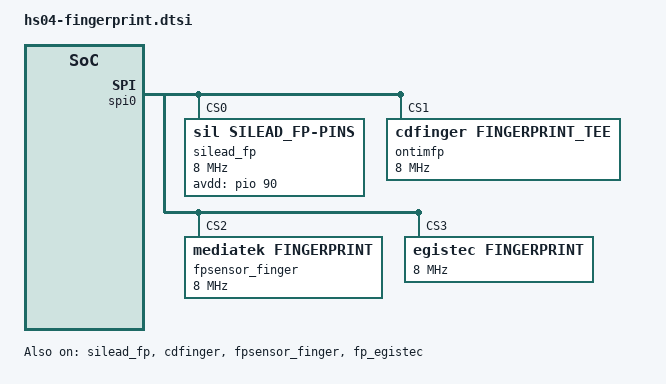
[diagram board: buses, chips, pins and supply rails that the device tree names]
/* FINGERPRINT start */
&spi0 {
    #address-cells = <1>;
    #size-cells = <0>;
    /delete-property/mediatek,pad-select;
    mediatek,pad-select = <0>,<0>,<0>,<0>;
    cs-gpios = <0>,<0>,<0>,<0>;
    status = "okay";

    silead_fp@0 {
        compatible = "sil,silead_fp-pins";
        reg = <0>;
        spi-id = <0>;
        spi-irq = <118>;
        spi-reg = <0x1100a000>;
        spi-max-frequency = <8000000>;
        avdd-gpio =<&pio 90 0x0>;
        status = "okay";
    };

    ontimfp@1 {
        compatible = "cdfinger,fingerprint_tee";
        reg = <1>;
        spi-max-frequency = <8000000>;
        status = "okay";
    };

    fpsensor_finger@2 {
        compatible = "mediatek,fingerprint";
        reg = <2>;
        spi-max-frequency = <8000000>;
        status = "okay";
    };

    fingerprint@3 {
        compatible = "egistec,fingerprint";
        reg = <3>;
        spi-max-frequency = <8000000>;
        status = "okay";
    };
};

/* HS03S code added for DEVAL5625-2567 by wurui at 20211122 start */
&silead_fp {
    interrupt-parent = <&pio>;
    interrupts = <2 IRQ_TYPE_EDGE_RISING 2 0>;

    pinctrl-names = "default", "rst-low", "rst-high" ,
                    "irq-init", "spi-default", "irq-low",
                    "avdd-enable", "avdd-disable";
    pinctrl-0 = <&silfp_default>;
    pinctrl-1 = <&silfp_rst_low>;
    pinctrl-2 = <&silfp_rst_high>;
    pinctrl-3 = <&silfp_irq>;
    pinctrl-4 = <&fingerprint_pins_default>;
    pinctrl-5 = <&silfp_irq_low>;
    pinctrl-6 = <&silfp_avdd_enable>;
    pinctrl-7 = <&silfp_avdd_disable>;
    status = "okay";
};
/* HS03S code added for DEVAL5625-2567 by wurui at 20211122 end */

&pio {
    silfp_default: silfpdefault {
    };

    silfp_rst_high: state_reset_high {
        pins_cmd_dat {
            pinmux = <PINMUX_GPIO173__FUNC_GPIO173>;
            slew-rate = <1>;
            output-high;
        };
    };

    silfp_rst_low: state_reset_low {
        pins_cmd_dat {
            pinmux = <PINMUX_GPIO173__FUNC_GPIO173>;
            slew-rate = <1>;
            output-low;
        };
    };

    silfp_irq: fp_eint@2 {
        pins_cmd_dat {
            pinmux = <PINMUX_GPIO2__FUNC_GPIO2>;
            slew-rate = <0>;
            bias-pull-down = <00>;
        };
    };

    silfp_irq_low: state_irq_low {
        pins_cmd_dat {
            pinmux = <PINMUX_GPIO2__FUNC_GPIO2>;
            slew-rate = <1>;
            output-low;
        };
    };

    silfp_avdd_enable: state_avdd_high {
        pins_cmd_dat {
            pinmux = <PINMUX_GPIO90__FUNC_GPIO90>;
            slew-rate = <1>;
            output-high;
        };
    };

/* HS03S code added for DEVAL5625-2567 by wurui at 20211122 start */
    silfp_avdd_disable: state_avdd_low {
        pins_cmd_dat {
            pinmux = <PINMUX_GPIO90__FUNC_GPIO90>;
            slew-rate = <1>;
            output-low;
        };
    };
/* HS03S code added for DEVAL5625-2567 by wurui at 20211122 end */
};

&pio {
    fingerprint_pins_default: fp_default {
	pins_cmd_dat {
		pinmux = <PINMUX_GPIO156__FUNC_SPI0_CSB>;
		slew-rate = <1>;
		bias-pull-up;
	};

	pins_cmd2_dat {
		pinmux = <PINMUX_GPIO158__FUNC_SPI0_CLK>;
		slew-rate = <1>;
		bias-pull-down;
	};

	pins_cmd3_dat {
		pinmux = <PINMUX_GPIO155__FUNC_SPI0_MI>;
		slew-rate = <0>;
		bias-pull-down;
	};

	pins_cmd4_dat {
		pinmux = <PINMUX_GPIO157__FUNC_SPI0_MO>;
		slew-rate = <1>;
		bias-pull-down;
	};
    };
};

&cdfinger {
    interrupt-parent = <&pio>;
    interrupts = <2 IRQ_TYPE_EDGE_RISING 2 0>;

    compatible = "mediatek,mtk_finger";
    reg = <0>;
    debounce = <2 0>;
    vdd_ldo_enable = <1>;
    vio_ldo_enable = <0>;
    config_spi_pin = <1>;
    spi-max-frequency = <8000000>;

    pinctrl-names = "fingerprint_reset_high",
        "fingerprint_reset_low",
        "fingerprint_spi_miso",
        "fingerprint_spi_mosi",
        "fingerprint_spi_sck",
        "fingerprint_spi_cs",
        "fingerprint_irq",
        "fingerprint_power_high",
        "fingerprint_power_low";

    pinctrl-0 = <&fps_reset_high>;
    pinctrl-1 = <&fps_reset_low>;
    pinctrl-2 = <&fps_spi_miso>;
    pinctrl-3 = <&fps_spi_mosi>;
    pinctrl-4 = <&fps_spi_sck>;
    pinctrl-5 = <&fps_spi_cs>;
    pinctrl-6 = <&fps_irq>;
    pinctrl-7 = <&fps_power_on>;
    pinctrl-8 = <&fps_power_off>;
    status = "okay";
};


&pio {
    fps_reset_high: fps_reset_high {
        pins_cmd_dat {
            pinmux = <PINMUX_GPIO173__FUNC_GPIO173>;
            slew-rate = <1>;
            bias-disable;
            output-high;
        };
    };
    fps_reset_low: fps_reset_low {
        pins_cmd_dat {
            pinmux = <PINMUX_GPIO173__FUNC_GPIO173>;
            slew-rate = <1>;
            bias-disable;
            output-low;
        };
    };
    fps_spi_miso:fps_spi_miso@0{
        pins_cmd_dat {
            pinmux = <PINMUX_GPIO155__FUNC_SPI0_MI>;
            slew-rate = <0>;
            bias-pull-down;
        };
    };
    fps_spi_mosi:fps_spi_mosi@0{
        pins_cmd_dat {
            pinmux = <PINMUX_GPIO157__FUNC_SPI0_MO>;
            slew-rate = <1>;
            bias-pull-down;
        };
    };
    fps_spi_sck:fps_spi_sck@0{
        pins_cmd_dat {
            pinmux = <PINMUX_GPIO158__FUNC_SPI0_CLK>;
            slew-rate = <1>;
            bias-pull-down;
        };
    };
    fps_spi_cs:fps_spi_cs@0{
        pins_cmd_dat {
            pinmux = <PINMUX_GPIO156__FUNC_SPI0_CSB>;
            slew-rate = <1>;
            bias-pull-up;
        };
    };
    fps_irq: fps_irq {
        pins_cmd_dat {
            pinmux = <PINMUX_GPIO2__FUNC_GPIO2>;
            slew-rate = <0>;
            bias-disable;
            output-low;
        };
    };
    fps_power_on: fps_power_on {
        pins_cmd_dat {
            pinmux = <PINMUX_GPIO90__FUNC_GPIO90>;
            slew-rate = <1>;
            output-high;
        };
    };
    fps_power_off: fps_power_off {
        pins_cmd_dat {
            pinmux = <PINMUX_GPIO90__FUNC_GPIO90>;
            slew-rate = <1>;
            output-low;
        };
    };
};

&fpsensor_finger {
	interrupt-parent = <&pio>;
	interrupts = <2 IRQ_TYPE_EDGE_RISING 2 0>;
	debounce = <2 0>;
	pinctrl-names = "fpsensor_spi_default", "fpsensor_spi_cs_low","fpsensor_spi_cs_high","fpsensor_spi_mi_low","fpsensor_spi_mi_high",
					"fpsensor_spi_mo_low","fpsensor_spi_mo_high","fpsensor_spi_mclk_low","fpsensor_spi_mclk_high",
					"fpsensor_finger_rst_low","fpsensor_finger_rst_high","fpsensor_finger_power_low","fpsensor_finger_power_high",
					"fpsensor_eint_as_int","fpsensor_eint_in_low","fpsensor_eint_in_float","fpsensor_finger_cs_low","fpsensor_finger_cs_high";
	pinctrl-0 = <&fpsensor_spi_default>;
	pinctrl-1 = <&fpsensor_spi_cs_en0>;
	pinctrl-2 = <&fpsensor_spi_cs_en1>;
	pinctrl-3 = <&fpsensor_spi_mi_mode_en0>;
	pinctrl-4 = <&fpsensor_spi_mi_mode_en1>;
	pinctrl-5 = <&fpsensor_spi_mo_mode_en0>;
	pinctrl-6 = <&fpsensor_spi_mo_mode_en1>;
	pinctrl-7 = <&fpsensor_spi_mclk_mode_en0>;
	pinctrl-8 = <&fpsensor_spi_mclk_mode_en1>;
	pinctrl-9 = <&fpsensor_finger_rst_mode_en0>;
	pinctrl-10 = <&fpsensor_finger_rst_mode_en1>;
	pinctrl-11 = <&fpsensor_finger_power_en0>;
	pinctrl-12 = <&fpsensor_finger_power_en1>;
	pinctrl-13 = <&fpsensor_fp_eint_as_int>;
	pinctrl-14 = <&fpsensor_fp_eint_in_low>;
	pinctrl-15 = <&fpsensor_fp_eint_in_float>;
	pinctrl-16 = <&fpsensor_finger_cs_mode_en0>;
	pinctrl-17 = <&fpsensor_finger_cs_mode_en1>;
	status = "okay";
};

&pio {

	fpsensor_spi_default: fpsensor_spi_default {
	};

	fpsensor_spi_cs_en0: fpsensor_spi_cs_low {
		pins_cmd_dat {
			pinmux = <PINMUX_GPIO156__FUNC_SPI0_CSB>;
			slew-rate = <1>;
			output-low;
		};
	};
	fpsensor_spi_cs_en1: fpsensor_spi_cs_high {
		pins_cmd_dat {
			pinmux = <PINMUX_GPIO156__FUNC_SPI0_CSB>;
			slew-rate = <1>;
			output-high;
		};
	};
	fpsensor_spi_mi_mode_en0: fpsensor_spi_mi_low {
		pins_cmd_dat {
			pinmux = <PINMUX_GPIO155__FUNC_SPI0_MI>;
			slew-rate = <0>;
			bias-pull-up = <00>;
		};
	};
	fpsensor_spi_mi_mode_en1: fpsensor_spi_mi_high {
		pins_cmd_dat {
			pinmux = <PINMUX_GPIO155__FUNC_SPI0_MI>;
			bias-disable;
		};
	};
	fpsensor_spi_mo_mode_en0: fpsensor_spi_mo_low {
		pins_cmd_dat {
			pinmux = <PINMUX_GPIO157__FUNC_SPI0_MO>;
			slew-rate = <1>;
			output-low;
		};
	};
	fpsensor_spi_mo_mode_en1: fpsensor_spi_mo_high {
		pins_cmd_dat {
			pinmux = <PINMUX_GPIO157__FUNC_SPI0_MO>;
			slew-rate = <1>;
			output-high;
		};
	};
		fpsensor_spi_mclk_mode_en0: fpsensor_spi_mclk_low {
		pins_cmd_dat {
			pinmux = <PINMUX_GPIO158__FUNC_SPI0_CLK>;
			slew-rate = <1>;
			output-low;
		};
	};
	fpsensor_spi_mclk_mode_en1: fpsensor_spi_mclk_high {
		pins_cmd_dat {
			pinmux = <PINMUX_GPIO158__FUNC_SPI0_CLK>;
			slew-rate = <1>;
			output-high;
		};
	};
	fpsensor_finger_rst_mode_en0: fpsensor_finger_rst_low {
		pins_cmd_dat {
			pinmux = <PINMUX_GPIO173__FUNC_GPIO173>;
			slew-rate = <1>;
			output-low;
		};
	};
	fpsensor_finger_rst_mode_en1: fpsensor_finger_rst_high {
		pins_cmd_dat {
			pinmux = <PINMUX_GPIO173__FUNC_GPIO173>;
			slew-rate = <1>;
			output-high;
		};
	};
	fpsensor_finger_power_en0: fpsensor_finger_power_low {
		pins_cmd_dat {
			pinmux = <PINMUX_GPIO90__FUNC_GPIO90>;
			slew-rate = <1>;
			output-low;
		};
	};
	fpsensor_finger_power_en1: fpsensor_finger_power_high {
		pins_cmd_dat {
			pinmux = <PINMUX_GPIO90__FUNC_GPIO90>;
			slew-rate = <1>;
			output-high;
		};
	};
	fpsensor_fp_eint_as_int: fpsensor_eint_as_int {
		pins_cmd_dat {
			pinmux = <PINMUX_GPIO2__FUNC_GPIO2>;
			slew-rate = <0>;
			bias-disable;
		};
	};
	fpsensor_fp_eint_in_low: fpsensor_eint_in_low {
		pins_cmd_dat {
			pinmux = <PINMUX_GPIO2__FUNC_GPIO2>;
			slew-rate = <0>;
			bias-pull-down = <00>;
		};
	};
	fpsensor_fp_eint_in_float: fpsensor_eint_in_float {
		pins_cmd_dat {
			pinmux = <PINMUX_GPIO2__FUNC_GPIO2>;
			slew-rate = <0>;
			bias-disable;
		};
	};
	fpsensor_finger_cs_mode_en0: fpsensor_finger_cs_low {
		pins_cmd_dat {
			pinmux = <PINMUX_GPIO156__FUNC_SPI0_CSB>;
			slew-rate = <1>;
			output-low;
		};
	};
	fpsensor_finger_cs_mode_en1: fpsensor_finger_cs_high {
		pins_cmd_dat {
			pinmux = <PINMUX_GPIO156__FUNC_SPI0_CSB>;
			slew-rate = <1>;
			output-high;
		};
	};

};

&fp_egistec {
    compatible = "fp-egistec";
    interrupt-parent = <&pio>;
    interrupts = <2 IRQ_TYPE_EDGE_RISING 2 0>;
    fp-gpio-vcc-enable;
    fp-ctrl-power;

    egistec,gpio_reset = <&pio 173 0x0>;
    egistec,gpio_irq = <&pio 2 0x0>;
    egistec,gpio_vcc_en = <&pio 90 0x0>;

    pinctrl-names = "egis_rst_high", "egis_rst_low", "egis_irq_active", "egis_spi_active", "egis_spi_default";
    pinctrl-0 = <&fingerfp_rst_high>;
    pinctrl-1 = <&fingerfp_rst_low>;
    pinctrl-2 = <&fingerfp_irq_active>;
    pinctrl-3 = <&fingerfp_spi_active>;
    pinctrl-4 = <&fingerfp_spi_default>;

    status="okay";
};


&pio {
	fingerfp_rst_high: fingerfp_rst_high {
		pins_cmd_dat {
			pinmux = <PINMUX_GPIO173__FUNC_GPIO173>;
			slew-rate = <1>;
			output-high;
		};
	};

	fingerfp_rst_low: fingerfp_rst_low {
		pins_cmd_dat {
			pinmux = <PINMUX_GPIO173__FUNC_GPIO173>;
			slew-rate = <1>;
			output-low;
		};
	};

	fingerfp_irq_active: fingerfp_irq_active {
		pins_cmd_dat {
			pinmux = <PINMUX_GPIO2__FUNC_GPIO2>;
			slew-rate = <0>;
			bias-disable;
		};
	};

	fingerfp_spi_active: fingerfp_spi_active{
		pins_cmd_dat {
			pinmux = <PINMUX_GPIO155__FUNC_SPI0_MI>, <PINMUX_GPIO156__FUNC_SPI0_CSB>, <PINMUX_GPIO157__FUNC_SPI0_MO>, <PINMUX_GPIO158__FUNC_SPI0_CLK>;
			drive-strength = <2>;
		};
	};

	fingerfp_spi_default: fingerfp_spi_default{
		pins_cmd_dat {
			pinmux = <PINMUX_GPIO155__FUNC_GPIO155>, <PINMUX_GPIO156__FUNC_GPIO156>, <PINMUX_GPIO157__FUNC_GPIO157>, <PINMUX_GPIO158__FUNC_GPIO158>;
			slew-rate = <1>;
			output-low;
		};
	};
};
/* FINGERPRINT end */
